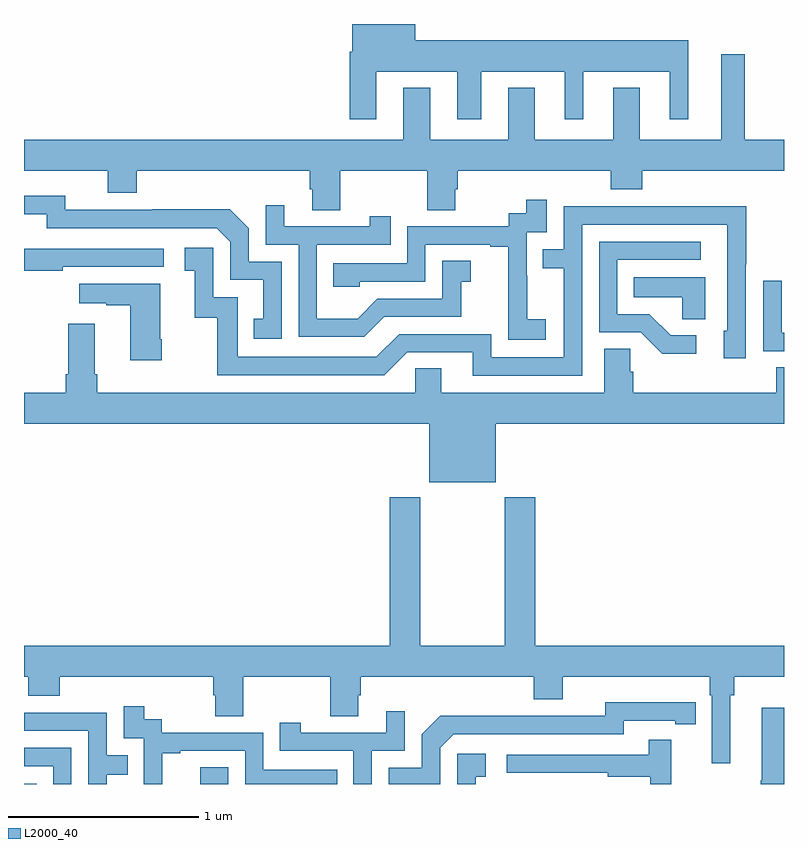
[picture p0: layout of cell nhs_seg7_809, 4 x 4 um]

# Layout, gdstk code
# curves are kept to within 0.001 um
import gdstk
lib = gdstk.Library(unit=1e-6, precision=1e-09)
def R(c, l, rs):  # rectangles x0, y0, x1, y1
    for r in rs: c.add(gdstk.rectangle(r[:2], r[2:], *l))
def P(c, l, *ps):  # polygons
    for p in ps: c.add(gdstk.Polygon(p, *l))
L2000_40 = (2000, 40)

nhs_seg7_809 = lib.new_cell('nhs_seg7_809')
R(nhs_seg7_809, L2000_40, [(171,1052,171.068,1052.002), (171.927,1052,172.074,1052.089)])
P(nhs_seg7_809, L2000_40, [(172.855,1055.75),(173.279,1055.75),(173.279,1055.499),(173.407,1055.499),(173.407,1055.75),(173.846,1055.75),(173.846,1055.499),(173.944,1055.499),(173.944,1055.75),(174.398,1055.75),(174.398,1055.499),(174.496,1055.499),(174.496,1055.914),(173.059,1055.914),(173.059,1056),(172.727,1056),(172.727,1055.854),(172.715,1055.854),(172.715,1055.499),(172.855,1055.499)],
  [(172.665,1055.228),(173.122,1055.228),(173.122,1055.02),(173.269,1055.02),(173.269,1055.13),(173.282,1055.13),(173.282,1055.228),(174.089,1055.228),(174.089,1055.129),(174.254,1055.129),(174.254,1055.228),(175,1055.228),(175,1055.392),(174.793,1055.392),(174.793,1055.842),(174.671,1055.842),(174.671,1055.392),(174.241,1055.392),(174.241,1055.665),(174.101,1055.665),(174.101,1055.392),(173.689,1055.392),(173.689,1055.665),(173.549,1055.665),(173.549,1055.392),(173.137,1055.392),(173.137,1055.665),(172.997,1055.665),(172.997,1055.392),(171,1055.392),(171,1055.228),(171.44,1055.228),(171.44,1055.111),(171.593,1055.111),(171.593,1055.228),(172.505,1055.228),(172.505,1055.13),(172.517,1055.13),(172.517,1055.02),(172.665,1055.02)],
  [(172.356,1054.749),(172.182,1054.749),(172.182,1054.926),(172.084,1055.024),(171.676,1055.024),(171.676,1055.022),(171.216,1055.022),(171.216,1055.095),(171,1055.095),(171,1054.998),(171.12,1054.998),(171.12,1054.926),(172.014,1054.926),(172.086,1054.854),(172.086,1054.653),(172.259,1054.653),(172.259,1054.449),(172.21,1054.449),(172.21,1054.344),(172.356,1054.344)],
  [(173.746,1054.447),(173.648,1054.447),(173.648,1054.676),(173.646,1054.676),(173.646,1054.905),(173.751,1054.905),(173.751,1055.074),(173.643,1055.074),(173.643,1055.004),(173.55,1055.004),(173.55,1054.935),(173.016,1054.935),(173.016,1054.74),(172.627,1054.74),(172.627,1054.617),(172.767,1054.617),(172.767,1054.644),(173.112,1054.644),(173.112,1054.839),(173.453,1054.839),(173.453,1054.827),(173.549,1054.827),(173.549,1054.543),(173.548,1054.543),(173.548,1054.337),(173.746,1054.337)],
  [(172.897,1054.458),(173.301,1054.458),(173.301,1054.643),(173.35,1054.643),(173.35,1054.753),(173.202,1054.753),(173.202,1054.554),(172.86,1054.554),(172.756,1054.45),(172.542,1054.45),(172.542,1054.839),(172.931,1054.839),(172.931,1054.987),(172.82,1054.987),(172.82,1054.935),(172.369,1054.935),(172.369,1055.047),(172.272,1055.047),(172.272,1054.839),(172.446,1054.839),(172.446,1054.353),(172.792,1054.353)],
  [(173.937,1054.944),(174.702,1054.944),(174.702,1054.386),(174.683,1054.386),(174.683,1054.242),(174.798,1054.242),(174.798,1054.735),(174.801,1054.735),(174.801,1055.042),(174.337,1055.042),(174.337,1055.04),(173.841,1055.04),(173.841,1054.815),(173.731,1054.815),(173.731,1054.714),(173.841,1054.714),(173.841,1054.245),(173.46,1054.245),(173.46,1054.368),(172.974,1054.368),(172.854,1054.248),(172.125,1054.248),(172.125,1054.563),(171.996,1054.563),(171.996,1054.822),(171.846,1054.822),(171.846,1054.701),(171.899,1054.701),(171.899,1054.455),(172.017,1054.455),(172.017,1054.152),(172.896,1054.152),(173.016,1054.272),(173.363,1054.272),(173.363,1054.149),(173.937,1054.149)],
  [(174.538,1054.362),(174.403,1054.362),(174.292,1054.473),(174.123,1054.473),(174.123,1054.758),(174.562,1054.758),(174.562,1054.854),(174.027,1054.854),(174.027,1054.377),(174.246,1054.377),(174.359,1054.265),(174.538,1054.265)],
  [(171.203,1054.722),(171.736,1054.722),(171.736,1054.818),(171,1054.818),(171,1054.702),(171.203,1054.702)],
  [(174.586,1054.666),(174.208,1054.666),(174.208,1054.562),(174.465,1054.562),(174.465,1054.447),(174.586,1054.447)],
  [(175,1054.374),(174.987,1054.374),(174.987,1054.648),(174.891,1054.648),(174.891,1054.278),(175,1054.278)],
  [(171.726,1054.342),(171.718,1054.342),(171.718,1054.633),(171.291,1054.633),(171.291,1054.529),(171.434,1054.529),(171.434,1054.519),(171.56,1054.519),(171.56,1054.23),(171.726,1054.23)],
  [(173.482,1053.896),(175,1053.896),(175,1054.193),(174.959,1054.193),(174.959,1054.06),(174.206,1054.06),(174.206,1054.169),(174.192,1054.169),(174.192,1054.292),(174.053,1054.292),(174.053,1054.06),(173.197,1054.06),(173.197,1054.187),(173.058,1054.187),(173.058,1054.06),(171.386,1054.06),(171.386,1054.156),(171.373,1054.156),(171.373,1054.423),(171.233,1054.423),(171.233,1054.156),(171.221,1054.156),(171.221,1054.06),(171,1054.06),(171,1053.896),(173.132,1053.896),(173.132,1053.587),(173.482,1053.587)],
  [(174.718,1052.468),(174.737,1052.468),(174.737,1052.564),(175,1052.564),(175,1052.728),(173.69,1052.728),(173.69,1053.508),(173.53,1053.508),(173.53,1052.728),(173.085,1052.728),(173.085,1053.508),(172.925,1053.508),(172.925,1052.728),(171,1052.728),(171,1052.564),(171.023,1052.564),(171.023,1052.465),(171.188,1052.465),(171.188,1052.564),(171.995,1052.564),(171.995,1052.466),(172.007,1052.466),(172.007,1052.356),(172.155,1052.356),(172.155,1052.564),(172.612,1052.564),(172.612,1052.356),(172.759,1052.356),(172.759,1052.466),(172.772,1052.466),(172.772,1052.564),(173.684,1052.564),(173.684,1052.447),(173.836,1052.447),(173.836,1052.564),(174.608,1052.564),(174.608,1052.468),(174.621,1052.468),(174.621,1052.109),(174.718,1052.109)],
  [(173.19,1052.19),(173.262,1052.262),(174.156,1052.262),(174.156,1052.334),(174.428,1052.334),(174.428,1052.314),(174.536,1052.314),(174.536,1052.43),(174.06,1052.431),(174.06,1052.358),(173.6,1052.358),(173.6,1052.36),(173.192,1052.36),(173.094,1052.262),(173.094,1052.085),(172.92,1052.085),(172.92,1052),(173.19,1052)],
  [(171.728,1052.163),(171.823,1052.163),(171.823,1052.175),(172.164,1052.175),(172.164,1052),(172.649,1052),(172.649,1052.076),(172.26,1052.076),(172.26,1052.271),(171.726,1052.271),(171.726,1052.34),(171.634,1052.34),(171.634,1052.41),(171.525,1052.41),(171.525,1052.241),(171.63,1052.241),(171.63,1052.012),(171.629,1052.012),(171.629,1052),(171.728,1052)],
  [(175,1052.401),(174.884,1052.401),(174.884,1052.021),(174.877,1052.021),(174.877,1052),(175,1052)],
  [(172.83,1052.175),(173.004,1052.175),(173.004,1052.383),(172.907,1052.383),(172.907,1052.271),(172.456,1052.271),(172.456,1052.323),(172.345,1052.323),(172.345,1052.175),(172.734,1052.175),(172.734,1052),(172.83,1052)],
  [(171.435,1052.05),(171.545,1052.05),(171.545,1052.151),(171.435,1052.151),(171.435,1052.376),(171,1052.376),(171,1052.28),(171.339,1052.28),(171.339,1052),(171.435,1052)],
  [(174.407,1052.233),(174.289,1052.233),(174.289,1052.154),(173.541,1052.154),(173.541,1052.058),(174.073,1052.058),(174.073,1052.038),(174.297,1052.038),(174.297,1052),(174.407,1052)],
  [(171.249,1052.19),(171,1052.19),(171,1052.094),(171.153,1052.094),(171.153,1052),(171.249,1052)],
  [(173.378,1052.037),(173.431,1052.037),(173.431,1052.158),(173.28,1052.158),(173.28,1052),(173.378,1052)])

lib.write_gds('nhs_seg7_809.gds')
